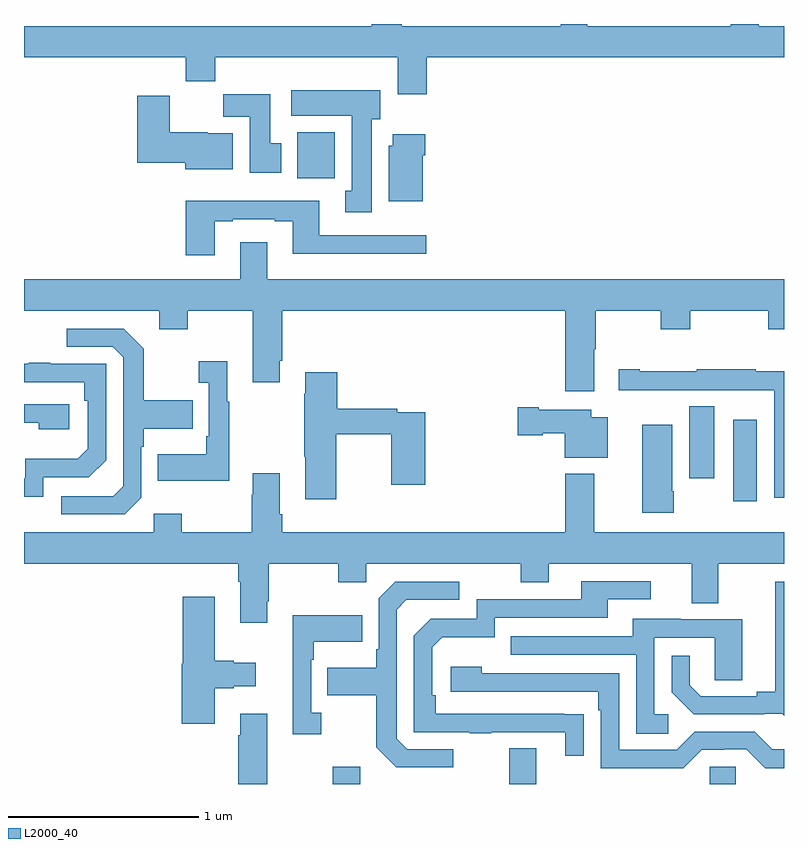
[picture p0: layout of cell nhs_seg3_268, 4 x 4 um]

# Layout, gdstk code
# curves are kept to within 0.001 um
import gdstk
lib = gdstk.Library(unit=1e-6, precision=1e-09)
def R(c, l, rs):  # rectangles x0, y0, x1, y1
    for r in rs: c.add(gdstk.rectangle(r[:2], r[2:], *l))
def P(c, l, *ps):  # polygons
    for p in ps: c.add(gdstk.Polygon(p, *l))
L2000_40 = (2000, 40)

nhs_seg3_268 = lib.new_cell('nhs_seg3_268')
R(nhs_seg3_268, L2000_40, [(124.624,722.4,124.771,722.491), (125.555,722.4,125.695,722.587), (126.609,722.4,126.747,722.49), (126.734,723.888,126.856,724.318), (126.5,724.008,126.634,724.388), (124.439,725.588,124.636,725.83)])
P(nhs_seg3_268, L2000_40, [(125.12,726.224),(127,726.224),(127,726.388),(126.867,726.388),(126.867,726.4),(126.719,726.4),(126.719,726.388),(125.965,726.388),(125.965,726.4),(125.825,726.4),(125.825,726.388),(124.989,726.388),(124.989,726.4),(124.829,726.4),(124.829,726.388),(123,726.388),(123,726.224),(123.851,726.224),(123.851,726.1),(124.007,726.1),(124.007,726.224),(124.967,726.224),(124.967,726.03),(125.12,726.03)],
  [(124.831,725.898),(124.876,725.898),(124.876,726.052),(124.407,726.052),(124.407,725.918),(124.724,725.918),(124.724,725.522),(124.691,725.522),(124.691,725.409),(124.831,725.409)],
  [(124.354,725.772),(124.297,725.772),(124.297,726.031),(124.048,726.031),(124.048,725.912),(124.187,725.912),(124.187,725.616),(124.354,725.616)],
  [(124.099,725.824),(123.966,725.824),(123.966,725.83),(123.766,725.83),(123.766,726.022),(123.596,726.022),(123.596,725.669),(123.848,725.669),(123.848,725.636),(124.099,725.636)],
  [(125.098,725.708),(125.111,725.708),(125.111,725.821),(124.94,725.821),(124.94,725.76),(124.919,725.76),(124.919,725.468),(125.098,725.468)],
  [(124.003,725.361),(124.099,725.361),(124.099,725.373),(124.319,725.373),(124.319,725.361),(124.415,725.361),(124.415,725.192),(125.116,725.192),(125.116,725.289),(124.555,725.289),(124.555,725.47),(123.851,725.47),(123.851,725.184),(124.003,725.184)],
  [(126.001,724.688),(126.009,724.688),(126.009,724.892),(126.352,724.892),(126.352,724.793),(126.507,724.793),(126.507,724.892),(126.916,724.892),(126.916,724.793),(127,724.793),(127,725.056),(124.279,725.056),(124.279,725.251),(124.139,725.251),(124.139,725.056),(123,725.056),(123,724.892),(123.713,724.892),(123.713,724.793),(123.861,724.793),(123.861,724.892),(124.205,724.892),(124.205,724.515),(124.345,724.515),(124.345,724.627),(124.358,724.627),(124.358,724.892),(125.849,724.892),(125.849,724.467),(126.001,724.467)],
  [(123.618,723.906),(123.618,724.175),(123.631,724.175),(123.631,724.271),(123.887,724.271),(123.887,724.419),(123.631,724.419),(123.631,724.691),(123.525,724.797),(123.225,724.797),(123.225,724.701),(123.468,724.701),(123.522,724.647),(123.522,723.966),(123.471,723.915),(123.195,723.915),(123.195,723.819),(123.531,723.819)],
  [(124.081,724.411),(124.069,724.411),(124.069,724.624),(123.921,724.624),(123.921,724.511),(123.972,724.511),(123.972,724.231),(123.96,724.231),(123.96,724.135),(123.703,724.135),(123.703,723.995),(124.081,723.995)],
  [(123.102,724.014),(123.342,724.014),(123.432,724.104),(123.432,724.611),(123.137,724.611),(123.137,724.616),(123.025,724.616),(123.025,724.611),(123,724.611),(123,724.515),(123.316,724.515),(123.316,724.418),(123.336,724.418),(123.336,724.164),(123.283,724.111),(123.006,724.111),(123.006,724.008),(123,724.008),(123,723.912),(123.102,723.912)],
  [(127,724.572),(126.851,724.572),(126.851,724.582),(126.541,724.582),(126.541,724.572),(126.241,724.572),(126.241,724.582),(126.129,724.582),(126.129,724.472),(126.404,724.472),(126.404,724.473),(126.738,724.473),(126.738,724.472),(126.948,724.472),(126.948,723.906),(127,723.906)],
  [(124.644,724.24),(124.933,724.24),(124.933,723.975),(125.111,723.975),(125.111,724.356),(124.964,724.356),(124.964,724.376),(124.649,724.376),(124.649,724.567),(124.481,724.567),(124.481,724.454),(124.474,724.454),(124.474,724.123),(124.481,724.123),(124.481,723.9),(124.644,723.9)],
  [(123.238,724.398),(123,724.398),(123,724.302),(123.077,724.302),(123.077,724.268),(123.238,724.268)],
  [(126.073,724.33),(125.986,724.33),(125.986,724.369),(125.71,724.369),(125.71,724.382),(125.598,724.382),(125.598,724.235),(125.73,724.235),(125.73,724.247),(125.846,724.247),(125.846,724.118),(126.073,724.118)],
  [(126.42,723.94),(126.412,723.94),(126.412,724.291),(126.254,724.291),(126.254,723.828),(126.42,723.828)],
  [(124.279,723.361),(124.287,723.361),(124.287,723.56),(124.654,723.56),(124.654,723.461),(124.8,723.461),(124.8,723.56),(125.614,723.56),(125.614,723.461),(125.761,723.461),(125.761,723.56),(126.515,723.56),(126.515,723.352),(126.655,723.352),(126.655,723.56),(127,723.56),(127,723.724),(126.001,723.724),(126.001,724.033),(125.849,724.033),(125.849,723.724),(124.358,723.724),(124.358,723.82),(124.345,723.82),(124.345,724.036),(124.205,724.036),(124.205,723.923),(124.198,723.923),(124.198,723.724),(123.831,723.724),(123.831,723.823),(123.684,723.823),(123.684,723.724),(123,723.724),(123,723.56),(124.127,723.56),(124.127,723.464),(124.139,723.464),(124.139,723.249),(124.279,723.249)],
  [(125.945,722.768),(125.168,722.769),(125.168,722.866),(125.148,722.866),(125.148,723.12),(125.201,723.173),(125.478,723.173),(125.478,723.276),(126.073,723.276),(126.073,723.372),(126.298,723.372),(126.298,723.468),(125.933,723.468),(125.933,723.372),(125.382,723.372),(125.382,723.27),(125.142,723.27),(125.052,723.18),(125.052,722.673),(125.347,722.673),(125.347,722.668),(125.459,722.668),(125.459,722.673),(125.849,722.673),(125.849,722.55),(125.945,722.55)],
  [(125.26,722.583),(125.016,722.583),(124.962,722.637),(124.962,723.318),(125.013,723.369),(125.29,723.369),(125.29,723.465),(124.953,723.465),(124.866,723.378),(124.866,723.109),(124.854,723.109),(124.854,723.013),(124.597,723.013),(124.597,722.866),(124.854,722.866),(124.854,722.593),(124.959,722.487),(125.26,722.487)],
  [(127,723.465),(126.953,723.465),(126.953,722.885),(126.857,722.885),(126.857,722.862),(126.562,722.862),(126.505,722.919),(126.505,723.076),(126.408,723.076),(126.408,722.882),(126.524,722.766),(126.896,722.766),(126.896,722.769),(126.99,722.769),(127,722.759)],
  [(124.003,722.903),(124.103,722.903),(124.103,722.915),(124.219,722.915),(124.219,723.037),(124.103,723.037),(124.103,723.05),(124.003,723.05),(124.003,723.385),(123.836,723.385),(123.836,723.033),(123.83,723.033),(123.83,722.718),(124.003,722.718)],
  [(124.564,722.774),(124.512,722.774),(124.512,723.053),(124.525,723.053),(124.525,723.149),(124.781,723.149),(124.781,723.289),(124.415,723.289),(124.415,722.661),(124.564,722.661)],
  [(126.391,722.766),(126.318,722.766),(126.318,723.171),(126.636,723.171),(126.636,722.947),(126.781,722.947),(126.781,723.267),(126.457,723.267),(126.457,723.271),(126.203,723.271),(126.203,723.177),(125.563,723.177),(125.563,723.081),(126.222,723.081),(126.222,722.665),(126.391,722.665)],
  [(127,722.583),(126.939,722.583),(126.846,722.676),(126.531,722.676),(126.435,722.58),(126.132,722.58),(126.132,722.982),(125.408,722.982),(125.408,723.016),(125.247,723.016),(125.247,722.886),(126.023,722.886),(126.023,722.789),(126.036,722.789),(126.036,722.484),(126.471,722.484),(126.567,722.58),(126.686,722.58),(126.686,722.583),(126.801,722.583),(126.901,722.483),(127,722.483)],
  [(124.279,722.77),(124.139,722.77),(124.139,722.657),(124.127,722.657),(124.127,722.4),(124.279,722.4)])

lib.write_gds('nhs_seg3_268.gds')
